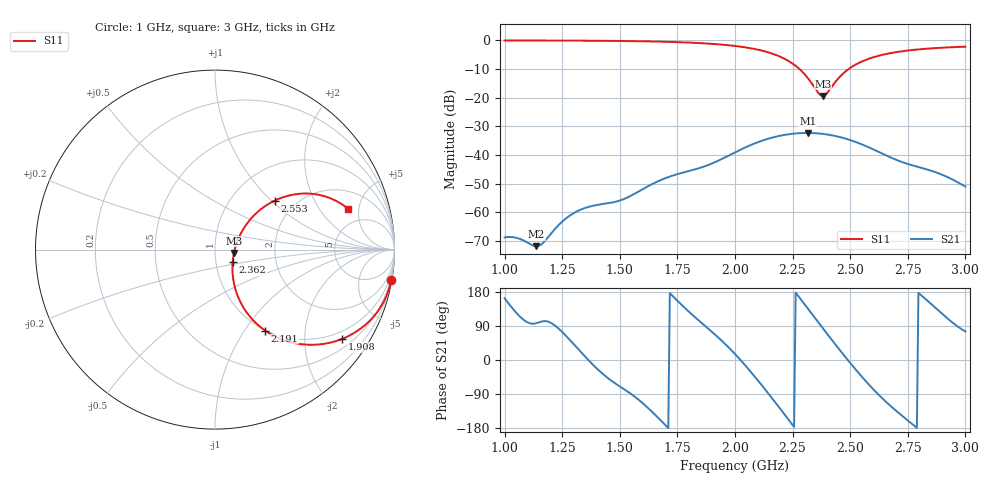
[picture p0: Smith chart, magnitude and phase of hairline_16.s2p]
! TOUCHSTONE file generated by CST MICROWAVE STUDIO
! Date and time: Tue Mar 18 20:31:42 2025
! Project name: hairline.cst
! Parameters = {B=12.5; D=160; F=15; Feed=2.85625; Fracture=0.5; L=100; M=50; R=0.384908; S=1.5; Theta=90; length=57.125; wave=114.25}
! Header version: 2024
! Port assignment regex: !\s*Touchstone port\s*([0-9]+)\s*=\s*(CST MWS port|CST DES external port|CST DES block port)\s*(.+)\s* \(\"(.*)\"\)(\s*mode\s*([0-9]+))?.*
! Touchstone port assignment:
! Touchstone port 1 = CST MWS port 1 ("")
! Touchstone port 2 = CST MWS port 2 ("")
# GHz S DB R 50
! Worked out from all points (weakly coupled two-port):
!   305 points, 1 GHz to 3 GHz, reference 50 ohm
!   highest |S21| = -32.30 dB at 2.316 GHz (marker M1); lowest = -71.8 dB at 1.138 GHz (marker M2)
!   lowest |S11| = -19.4 dB at 2.382 GHz (marker M3), VSWR 1.24, Z = 61.8 - j2.36 ohm
!   |S11| at or under -10 dB: 2.28 GHz to 2.493 GHz (213.5 MHz wide, 8.94 % of centre)
!   S12 and S22 are empty: the file has one direction only
!   S11 on the Smith chart (normalised r, x): 1 GHz: 0, -12; 1.908 GHz: 0.75, -3.00; 2.191 GHz: 0.99, -1.25; 2.362 GHz: 1.20, -0.17; 2.553 GHz: 1.57, +1.05; 3 GHz: 3.41, +3.87
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1  -0.02 -9.8  -68.78 162.8  -200.00 0.0  -200.00 0.0
1.05263  -0.03 -10.5  -68.93 123.3  -200.00 0.0  -200.00 0.0
1.13816  -0.04 -11.7  -71.82 97.2  -200.00 0.0  -200.00 0.0
1.16447  -0.04 -12.1  -70.85 102.1  -200.00 0.0  -200.00 0.0
1.26316  -0.07 -13.8  -62.34 65.9  -200.00 0.0  -200.00 0.0
1.33553  -0.10 -15.2  -58.90 18.0  -200.00 0.0  -200.00 0.0
1.50658  -0.20 -19.1  -55.71 -72.3  -200.00 0.0  -200.00 0.0
1.67105  -0.42 -24.1  -48.97 -155.4  -200.00 0.0  -200.00 0.0
1.90789  -1.24 -35.0  -42.70 70.0  -200.00 0.0  -200.00 0.0
2  -1.94 -41.1  -39.09 15.8  -200.00 0.0  -200.00 0.0
2.10526  -3.35 -49.8  -35.35 -58.3  -200.00 0.0  -200.00 0.0
2.19079  -5.51 -58.2  -33.36 -124.3  -200.00 0.0  -200.00 0.0
2.26316  -8.88 -63.8  -32.48 178.1  -200.00 0.0  -200.00 0.0
2.31579  -13.10 -61.1  -32.30 135.9  -200.00 0.0  -200.00 0.0
2.33553  -15.27 -55.0  -32.34 120.1  -200.00 0.0  -200.00 0.0
2.36184  -18.34 -35.7  -32.47 99.1  -200.00 0.0  -200.00 0.0
2.38158  -19.39 -10.2  -32.63 83.4  -200.00 0.0  -200.00 0.0
2.47368  -11.25 41.0  -34.14 11.9  -200.00 0.0  -200.00 0.0
2.55263  -7.30 39.3  -36.36 -45.5  -200.00 0.0  -200.00 0.0
2.67105  -4.50 31.6  -40.69 -119.0  -200.00 0.0  -200.00 0.0
2.88816  -2.60 20.6  -46.53 127.7  -200.00 0.0  -200.00 0.0
3  -2.19 16.8  -51.00 75.4  -200.00 0.0  -200.00 0.0
